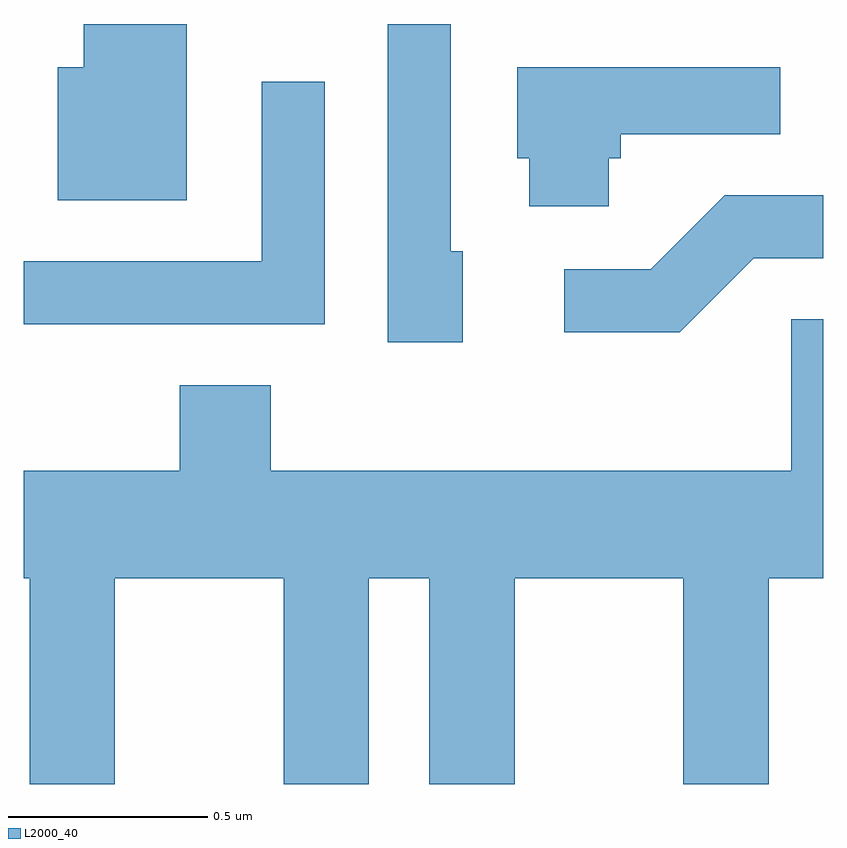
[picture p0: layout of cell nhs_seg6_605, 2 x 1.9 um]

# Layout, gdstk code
import gdstk
lib = gdstk.Library(unit=1e-6, precision=1e-09)
def P(c, l, *ps):  # polygons
    for p in ps: c.add(gdstk.Polygon(p, *l))
L2000_40 = (2000, 40)

nhs_seg6_605 = lib.new_cell('nhs_seg6_605')
P(nhs_seg6_605, L2000_40, [(190.709,1588.594),(190.679,1588.594),(190.679,1589.162),(190.521,1589.162),(190.521,1588.366),(190.709,1588.366)],
  [(190.019,1589.162),(189.761,1589.162),(189.761,1589.054),(189.696,1589.054),(189.696,1588.721),(190.019,1588.721)],
  [(191.074,1588.826),(191.104,1588.826),(191.104,1588.886),(191.503,1588.886),(191.503,1589.054),(190.846,1589.054),(190.846,1588.826),(190.876,1588.826),(190.876,1588.706),(191.074,1588.706)],
  [(190.364,1589.018),(190.206,1589.018),(190.206,1588.569),(189.611,1588.569),(189.611,1588.411),(190.364,1588.411)],
  [(191.437,1588.576),(191.611,1588.576),(191.611,1588.734),(191.364,1588.734),(191.179,1588.549),(190.963,1588.549),(190.963,1588.391),(191.252,1588.391)],
  [(189.839,1587.776),(190.261,1587.776),(190.261,1587.261),(190.474,1587.261),(190.474,1587.776),(190.626,1587.776),(190.626,1587.261),(190.839,1587.261),(190.839,1587.776),(191.261,1587.776),(191.261,1587.261),(191.474,1587.261),(191.474,1587.776),(191.611,1587.776),(191.611,1588.424),(191.531,1588.424),(191.531,1588.044),(190.229,1588.044),(190.229,1588.259),(190.001,1588.259),(190.001,1588.044),(189.611,1588.044),(189.611,1587.776),(189.626,1587.776),(189.626,1587.261),(189.839,1587.261)])

lib.write_gds('nhs_seg6_605.gds')
